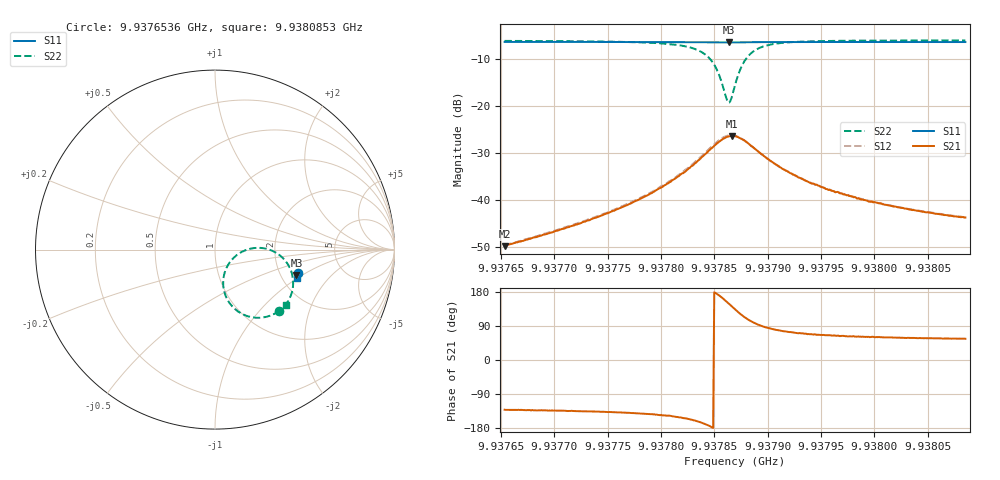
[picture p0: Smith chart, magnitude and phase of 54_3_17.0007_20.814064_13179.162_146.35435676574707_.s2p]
#  HZ  S  RI  R  50.00
! Rohde & Schwarz Vector Network Analyzer
! Rohde-Schwarz,ZNB20-2Port,1311601062101988,3.16
! Created: UTC 3/20/2024, 10:54:26 PM
! freq[Hz]  re:S11  im:S11  re:S21  im:S21  re:S12  im:S12  re:S22  im:S22
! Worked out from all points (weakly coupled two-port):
!   401 points, 9.9376536 GHz to 9.9380853 GHz, reference 50 ohm
!   highest |S21| = -26.41 dB at 9.9378662 GHz (marker M1); lowest = -49.9 dB at 9.9376536 GHz (marker M2)
!   lowest |S11| = -6.5 dB at 9.937864 GHz (marker M3), VSWR 2.81, Z = 122 - j44.2 ohm
!   |S11| at or under -10 dB: nowhere
!   |S22| runs from -19.3 to -6.0 dB; largest |S21 - S12| = 0.0032
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9.93765358e9  0.4642 -0.1292  -0.0021 -0.0024  -0.00219 -0.00244  0.3583 -0.3402
9.93772589e9  0.4624 -0.1343  -0.00403 -0.00401  -0.00415 -0.00403  0.3372 -0.354
9.93776906e9  0.461 -0.1374  -0.00671 -0.00577  -0.00697 -0.00579  0.3107 -0.3668
9.9377982e9  0.4599 -0.1395  -0.0108 -0.00754  -0.0111 -0.00758  0.2747 -0.3769
9.93782627e9  0.4582 -0.1417  -0.0198 -0.00875  -0.0205 -0.00872  0.1973 -0.3751
9.93784246e9  0.4564 -0.1425  -0.0308 -0.00529  -0.0321 -0.00453  0.1094 -0.3294
9.93784785e9  0.4556 -0.1427  -0.0355 -0.00143  -0.0371 -9.77e-05  0.0754 -0.2892
9.93785217e9  0.4549 -0.1425  -0.0394 0.00342  -0.0406 0.00531  0.0538 -0.2412
9.93785541e9  0.4545 -0.1421  -0.0414 0.00831  -0.0424 0.0107  0.0458 -0.1965
9.9378608e9  0.4541 -0.1415  -0.0421 0.0189  -0.0422 0.0217  0.0604 -0.1106
9.93786404e9  0.4541 -0.1406  -0.0401 0.0254  -0.0396 0.0283  0.0896 -0.0613
9.9378662e9  0.4543 -0.1402  -0.0379 0.0292  -0.0368 0.0322  0.117 -0.0341
9.93786944e9  0.4546 -0.1398  -0.0328 0.0344  -0.0312 0.0369  0.1662 -0.00488
9.93787375e9  0.4554 -0.1395  -0.0248 0.0382  -0.0228 0.0401  0.2357 0.00973
9.93787807e9  0.4562 -0.1395  -0.0172 0.0394  -0.0151 0.0402  0.2975 0.00129
9.93788347e9  0.4569 -0.1399  -0.00924 0.0374  -0.00742 0.0378  0.3547 -0.0272
9.93788994e9  0.4576 -0.1406  -0.00278 0.0335  -0.00144 0.0334  0.3968 -0.0687
9.93791261e9  0.4583 -0.1432  0.00488 0.0214  0.00547 0.0212  0.4353 -0.1751
9.93794175e9  0.4579 -0.146  0.00567 0.0137  0.00598 0.0137  0.4289 -0.2364
9.937986e9  0.4567 -0.1493  0.00491 0.00899  0.00515 0.009  0.414 -0.2749
9.93801406e9  0.456 -0.1512  0.00442 0.00748  0.00459 0.0074  0.4065 -0.2878
9.93808529e9  0.4541 -0.1561  0.00361 0.00535  0.00373 0.00533  0.3938 -0.3069
